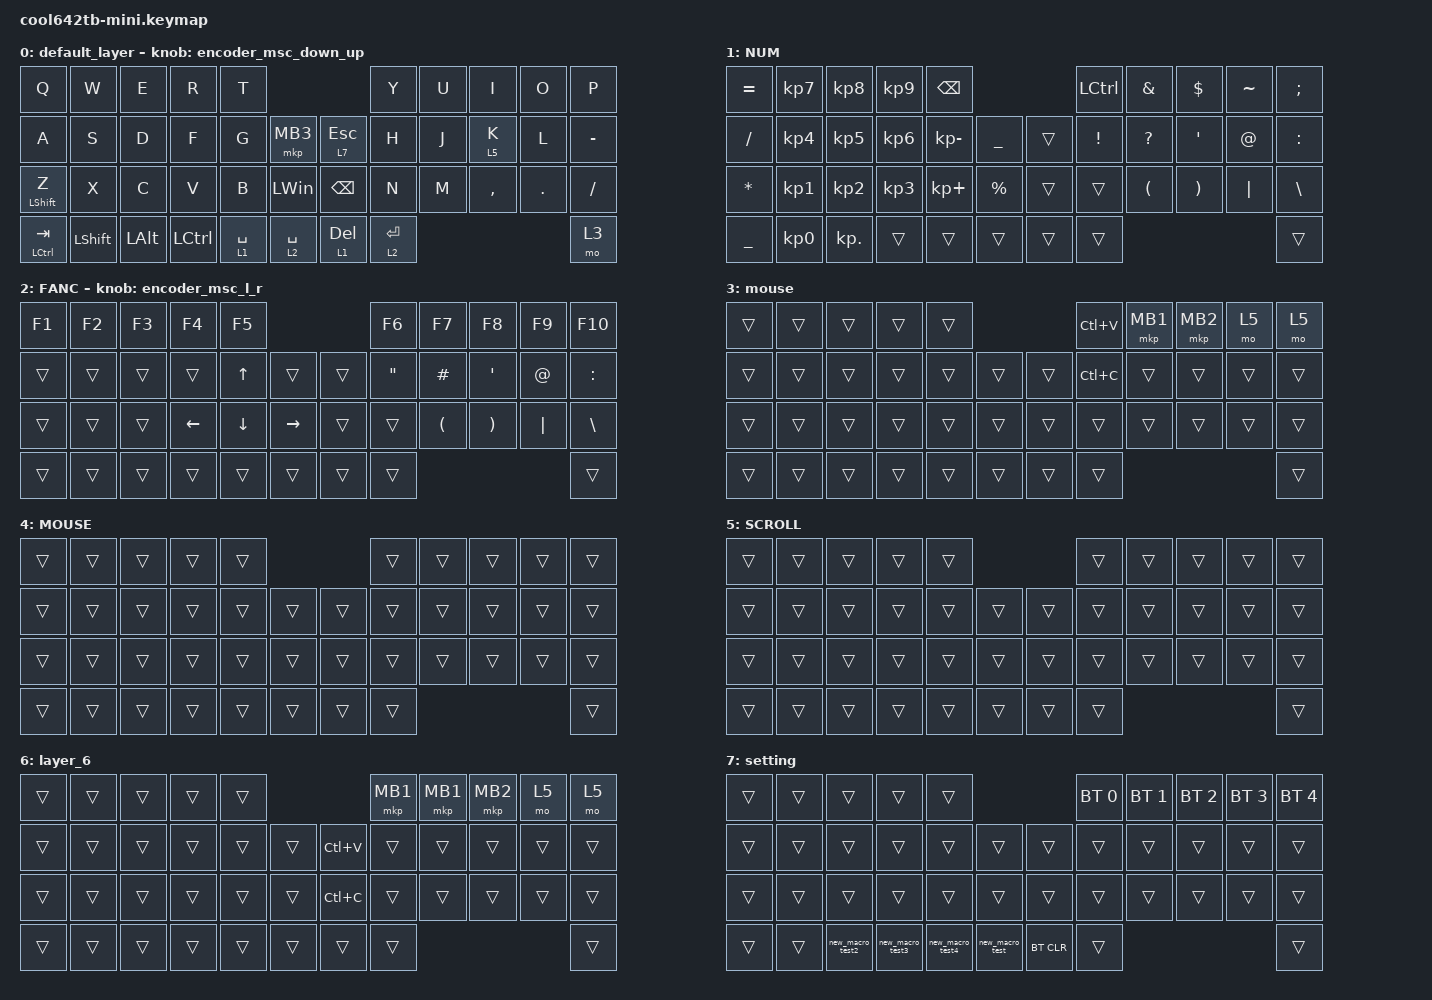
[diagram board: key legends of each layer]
#include <behaviors.dtsi>
#include <dt-bindings/zmk/bt.h>
#include <dt-bindings/zmk/keys.h>
#include <dt-bindings/zmk/pointing.h>

#define MOUSE 4
#define SCROLL 5
#define NUM 6
#define ZMK_POINTING_DEFAULT_SCRL_VAL 80

&mt {
    flavor = "balanced";
    quick-tap-ms = <0>;
};

/ {
    combos {
        compatible = "zmk,combos";

        lang1 {
            bindings = <&kp LANG1>;
            key-positions = <38 37>;
        };

        lang2 {
            bindings = <&kp LANG2>;
            key-positions = <37 36>;
        };

        setting {
            bindings = <&mo 7>;
            key-positions = <28 16>;
            layers = <0>;
        };

        up {
            bindings = <&kp UP_ARROW>;
            key-positions = <14 26>;
        };

        down {
            bindings = <&kp DOWN_ARROW>;
            key-positions = <26 38>;
        };

        rght {
            bindings = <&kp RIGHT_ARROW>;
            key-positions = <27 26>;
        };

        left {
            bindings = <&kp LEFT>;
            key-positions = <26 25>;
        };

        bs {
            bindings = <&kp BSPC>;
            key-positions = <40 41>;
        };

        esc {
            bindings = <&kp ESC>;
            key-positions = <0 1>;
        };

        tab {
            bindings = <&kp TAB>;
            key-positions = <22 23>;
        };

        bs2 {
            bindings = <&kp BSPC>;
            key-positions = <9 8>;
        };
    };

    behaviors {
        encoder_msc_down_up: encoder_msc_down_up {
            compatible = "zmk,behavior-sensor-rotate";
            label = "ENCODER_MSC_DOWN_UP";
            #sensor-binding-cells = <0>;
            bindings = <&msc SCRL_UP>, <&msc SCRL_DOWN>;

            tap-ms = <20>;
        };

        encoder_msc_l_r: encoder_msc_l_r {
            compatible = "zmk,behavior-sensor-rotate";
            label = "ENCODER_MSC_L_R";
            #sensor-binding-cells = <0>;
            bindings = <&msc SCRL_LEFT>, <&msc SCRL_RIGHT>;

            tap-ms = <20>;
        };
    };

    macros {
        new_macro_test: new_macro_test {
            compatible = "zmk,behavior-macro";
            #binding-cells = <0>;
            bindings = <&kp KP_NUMBER_0 &kp KP_NUMBER_0 &kp KP_NUMBER_1>;
            label = "NEW_MACRO_TEST";
        };

        new_macro_test2: new_macro_test2 {
            compatible = "zmk,behavior-macro";
            #binding-cells = <0>;
            bindings = <&kp LS(S) &kp M &kp E &kp R &kp T>;
            label = "NEW_MACRO_TEST2";
        };

        new_macro_test4: new_macro_test4 {
            compatible = "zmk,behavior-macro";
            #binding-cells = <0>;
            bindings = <&kp LS(S) &kp Y &kp S &kp T &kp E &kp M>;
            label = "new_macro_test4";
        };

        new_macro_test3: new_macro_test3 {
            compatible = "zmk,behavior-macro";
            #binding-cells = <0>;
            bindings = <&kp LS(P) &kp O &kp W &kp E &kp R>;
            label = "new_macro_test3";
        };
    };

    keymap {
        compatible = "zmk,keymap";

        default_layer {
            bindings = <
&kp Q             &kp W           &kp E         &kp R      &kp T                                        &kp Y        &kp U  &kp I      &kp O    &kp P
&kp A             &kp S           &kp D         &kp F      &kp G        &mkp MB3          &lt 7 ESCAPE  &kp H        &kp J  &lt 5 K    &kp L    &kp MINUS
&mt LEFT_SHIFT Z  &kp X           &kp C         &kp V      &kp B        &kp LEFT_WIN      &kp BSPC      &kp N        &kp M  &kp COMMA  &kp DOT  &kp SLASH
&mt LCTRL TAB     &kp LEFT_SHIFT  &kp LEFT_ALT  &kp LCTRL  &lt 1 SPACE  &lt 2 SPACE       &lt 1 DEL     &lt 2 ENTER                             &mo 3
            >;

            sensor-bindings = <&encoder_msc_down_up>;
        };

        NUM {
            bindings = <
&kp EQUAL       &kp KP_NUMBER_7  &kp KP_NUMBER_8  &kp KP_NUMBER_9  &kp BSPC                               &kp LCTRL        &kp AMPERSAND         &kp DOLLAR             &kp TILDE    &kp SEMICOLON
&kp SLASH       &kp KP_NUMBER_4  &kp KP_NUMBER_5  &kp KP_NUMBER_6  &kp KP_MINUS  &kp UNDER        &trans  &kp EXCLAMATION  &kp QUESTION          &kp SQT                &kp AT_SIGN  &kp COLON
&kp ASTERISK    &kp KP_NUMBER_1  &kp KP_NUMBER_2  &kp KP_NUMBER_3  &kp KP_PLUS   &kp PERCENT      &trans  &trans           &kp LEFT_PARENTHESIS  &kp RIGHT_PARENTHESIS  &kp PIPE     &kp BSLH
&kp UNDERSCORE  &kp KP_NUMBER_0  &kp KP_DOT       &trans           &trans        &trans           &trans  &trans                                                                     &trans
            >;
        };

        FANC {
            bindings = <
&kp F1  &kp F2  &kp F3  &kp F4          &kp F5                                       &kp F6             &kp F7                &kp F8                 &kp F9    &kp F10
&trans  &trans  &trans  &trans          &kp UP_ARROW    &trans               &trans  &kp DOUBLE_QUOTES  &kp HASH              &kp SQT                &kp AT    &kp COLON
&trans  &trans  &trans  &kp LEFT_ARROW  &kp DOWN_ARROW  &kp RIGHT_ARROW      &trans  &trans             &kp LEFT_PARENTHESIS  &kp RIGHT_PARENTHESIS  &kp PIPE  &kp BACKSLASH
&trans  &trans  &trans  &trans          &trans          &trans               &trans  &trans                                                                    &trans
            >;

            sensor-bindings = <&encoder_msc_l_r>;
        };

        mouse {
            bindings = <
&trans  &trans  &trans  &trans  &trans                      &kp LC(V)  &mkp MB1  &mkp MB2  &mo 5   &mo 5
&trans  &trans  &trans  &trans  &trans  &trans      &trans  &kp LC(C)  &trans    &trans    &trans  &trans
&trans  &trans  &trans  &trans  &trans  &trans      &trans  &trans     &trans    &trans    &trans  &trans
&trans  &trans  &trans  &trans  &trans  &trans      &trans  &trans                                 &trans
            >;
        };

        MOUSE {
            bindings = <
&trans  &trans  &trans  &trans  &trans                      &trans  &trans  &trans  &trans  &trans
&trans  &trans  &trans  &trans  &trans  &trans      &trans  &trans  &trans  &trans  &trans  &trans
&trans  &trans  &trans  &trans  &trans  &trans      &trans  &trans  &trans  &trans  &trans  &trans
&trans  &trans  &trans  &trans  &trans  &trans      &trans  &trans                          &trans
            >;
        };

        SCROLL {
            bindings = <
&trans  &trans  &trans  &trans  &trans                      &trans  &trans  &trans  &trans  &trans
&trans  &trans  &trans  &trans  &trans  &trans      &trans  &trans  &trans  &trans  &trans  &trans
&trans  &trans  &trans  &trans  &trans  &trans      &trans  &trans  &trans  &trans  &trans  &trans
&trans  &trans  &trans  &trans  &trans  &trans      &trans  &trans                          &trans
            >;
        };

        layer_6 {
            bindings = <
&trans  &trans  &trans  &trans  &trans                         &mkp MB1  &mkp MB1  &mkp MB2  &mo 5   &mo 5
&trans  &trans  &trans  &trans  &trans  &trans      &kp LC(V)  &trans    &trans    &trans    &trans  &trans
&trans  &trans  &trans  &trans  &trans  &trans      &kp LC(C)  &trans    &trans    &trans    &trans  &trans
&trans  &trans  &trans  &trans  &trans  &trans      &trans     &trans                                &trans
            >;
        };

        setting {
            bindings = <
&trans  &trans  &trans            &trans            &trans                                             &bt BT_SEL 0  &bt BT_SEL 1  &bt BT_SEL 2  &bt BT_SEL 3  &bt BT_SEL 4
&trans  &trans  &trans            &trans            &trans            &trans               &trans      &trans        &trans        &trans        &trans        &trans
&trans  &trans  &trans            &trans            &trans            &trans               &trans      &trans        &trans        &trans        &trans        &trans
&trans  &trans  &new_macro_test2  &new_macro_test3  &new_macro_test4  &new_macro_test      &bt BT_CLR  &trans                                                  &trans
            >;
        };
    };
};
